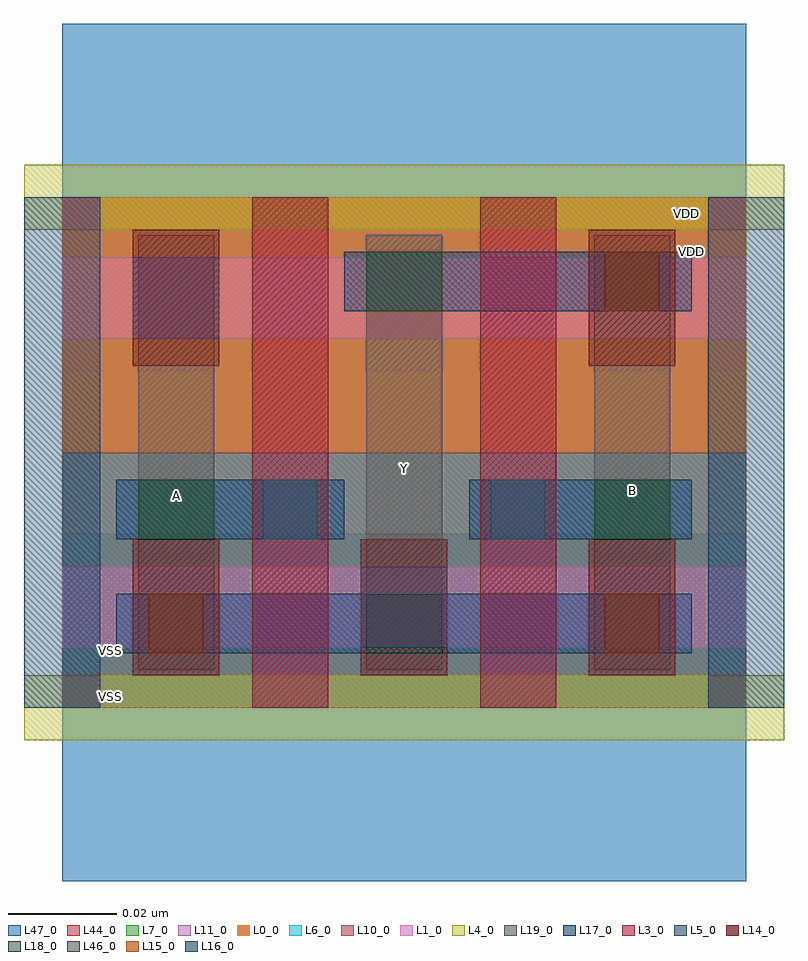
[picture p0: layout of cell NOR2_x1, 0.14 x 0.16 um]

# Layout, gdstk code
import gdstk
lib = gdstk.Library(unit=1e-6, precision=5e-10)
def R(c, l, rs):  # rectangles x0, y0, x1, y1
    for r in rs: c.add(gdstk.rectangle(r[:2], r[2:], *l))
def A(c, l, x, y, w, h, nx, ny, dx, dy):  # array of equal rectangles
    R(c, l, [(x+i*dx, y+j*dy, x+i*dx+w, y+j*dy+h) for i in range(nx) for j in range(ny)])
L0_0 = (0, 0)
L1_0 = (1, 0)
L3_0 = (3, 0)
L4_0 = (4, 0)
L5_0 = (5, 0)
L6_0 = (6, 0)
L7_0 = (7, 0)
L10_0 = (10, 0)
L11_0 = (11, 0)
L14_0 = (14, 0)
L15_0 = (15, 0)
L16_0 = (16, 0)
L17_0 = (17, 0)
L18_0 = (18, 0)
L19_0 = (19, 0)
L44_0 = (44, 0)
L46_0 = (46, 0)
L47_0 = (47, 0)

nor2_x1 = lib.new_cell('NOR2_x1')
R(nor2_x1, L0_0, [(0,0.047,0.126,0.094)])
R(nor2_x1, L1_0, [(0,0.011,0.126,0.026), (0,0.068,0.126,0.083)])
R(nor2_x1, L3_0, [(0.035,0,0.049,0.094), (0.077,0,0.091,0.094)])
R(nor2_x1, L4_0, [(-0.007,-0.006,0.133,0.006), (-0.007,0.088,0.133,0.1)])
R(nor2_x1, L5_0, [(-0.007,0,0.007,0.094), (0.119,0,0.133,0.094)])
R(nor2_x1, L6_0, [(0,0,0.126,0.047)])
R(nor2_x1, L7_0, [(0,0.047,0.126,0.094)])
R(nor2_x1, L10_0, [(0,0,0.126,0.047)])
R(nor2_x1, L11_0, [(0,0.047,0.126,0.094)])
A(nor2_x1, L14_0, 0.013, 0.006, 0.016, 0.025, 3, 1, 0.042, 0)
R(nor2_x1, L14_0, [(0.013,0.063,0.029,0.088), (0.097,0.063,0.113,0.088)])
R(nor2_x1, L15_0, [(0.016,0.01,0.026,0.021), (0.1,0.01,0.11,0.021), (0.1,0.073,0.11,0.084)])
R(nor2_x1, L16_0, [(0.037,0.031,0.047,0.042), (0.079,0.031,0.089,0.042)])
R(nor2_x1, L17_0, [(0.01,0.01,0.116,0.021), (0.01,0.031,0.052,0.042), (0.075,0.031,0.116,0.042), (0.052,0.073,0.116,0.084)])
R(nor2_x1, L18_0, [(0.056,0.01,0.07,0.021), (0.014,0.031,0.028,0.042), (0.098,0.031,0.112,0.042), (0.056,0.073,0.07,0.084)])
A(nor2_x1, L19_0, 0.014, 0.007, 0.014, 0.08, 3, 1, 0.042, 0)
R(nor2_x1, L44_0, [(0,0,0.126,0.094)])
R(nor2_x1, L46_0, [(0.055,0.011,0.071,0.026), (0.013,0.068,0.029,0.083)])
R(nor2_x1, L47_0, [(0,-0.032,0.126,0.032), (0,0.062,0.126,0.126)])
nor2_x1.add(gdstk.Label('VDD', (0.115,0.091), layer=0, texttype=2))
nor2_x1.add(gdstk.Label('A', (0.021,0.039), layer=19, texttype=2))
nor2_x1.add(gdstk.Label('B', (0.105,0.04), layer=19, texttype=2))
nor2_x1.add(gdstk.Label('Y', (0.063,0.044), layer=19, texttype=2))
nor2_x1.add(gdstk.Label('VDD', (0.116,0.084), layer=47, texttype=2))
nor2_x1.add(gdstk.Label('VSS', (0.009,0.0105), layer=47, texttype=2))
nor2_x1.add(gdstk.Label('VSS', (0.009,0.002), layer=54, texttype=2))

lib.write_gds('NOR2_x1.gds')
